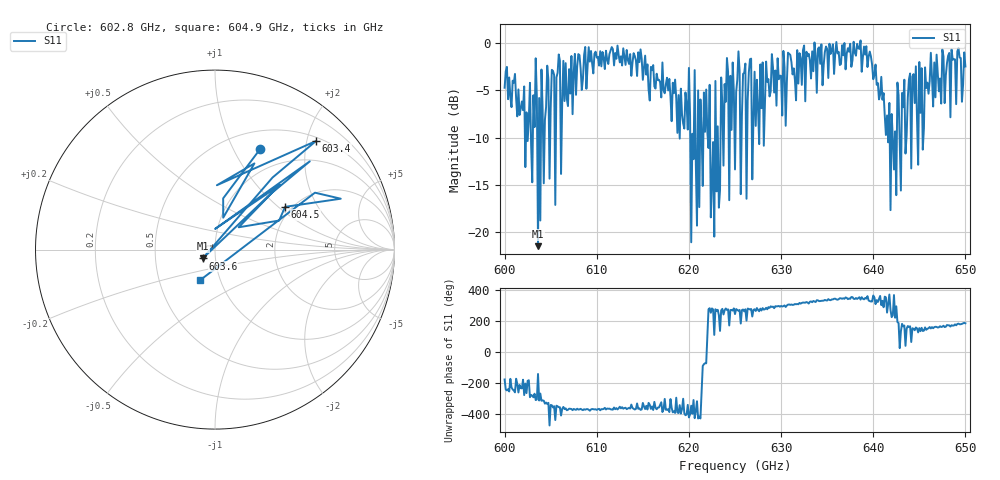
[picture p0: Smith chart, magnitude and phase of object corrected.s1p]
!Created with skrf (http://scikit-rf.org).
# GHz S MA R 50.0
!freq magS11 angS11
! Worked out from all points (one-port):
!   401 points, 600 GHz to 650 GHz, reference 50 ohm
!   lowest |S11| = -21.5 dB at 603.6 GHz (marker M1), VSWR 1.18, Z = 43.4 - j4.3 ohm
!   |S11| at or under -10 dB: 602.8602 GHz to 603.0643 GHz (204.2 MHz wide, 0.0339 % of centre); 620.7145 GHz to 620.9565 GHz (242 MHz wide, 0.039 % of centre); 622.2997 GHz to 622.8296 GHz (529.9 MHz wide, 0.0851 % of centre) (the widest 3 of 36)
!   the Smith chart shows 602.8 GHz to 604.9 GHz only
!   S11 on the Smith chart (normalised r, x): 602.8 GHz: 0.71, +1.28; 603.4 GHz: 0.57, +2.17; 603.6 GHz: 0.87, -0.09; 604.5 GHz: 1.85, +1.11; 604.9 GHz: 0.80, -0.29
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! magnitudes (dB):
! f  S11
! 600 GHz  -4.8
! 602.8 GHz  -4.2
! 603.4 GHz  -1.7
! 603.6 GHz  -21.5
! 604.5 GHz  -6.8
! 604.9 GHz  -14.3
! 606.2 GHz  -6.2
! 607.9 GHz  -2.5
! 612.5 GHz  -2.1
! 618.8 GHz  -9.5
! 619.9 GHz  -9.2
! 620 GHz  -2.7
! 621 GHz  -5.0
! 622 GHz  -9.5
! 622.5 GHz  -14.8
! 623.5 GHz  -3.7
! 624 GHz  -6.2
! 625 GHz  -13.4
! 626.6 GHz  -1.7
! 627.1 GHz  -3.1
! 628.9 GHz  -5.1
! 630.4 GHz  -2.6
! 631.2 GHz  -3.4
! 637.5 GHz  -0.1
! 639.5 GHz  -1.5
! 642.1 GHz  -10.1
! 643.8 GHz  -5.8
! 650 GHz  -2.5
